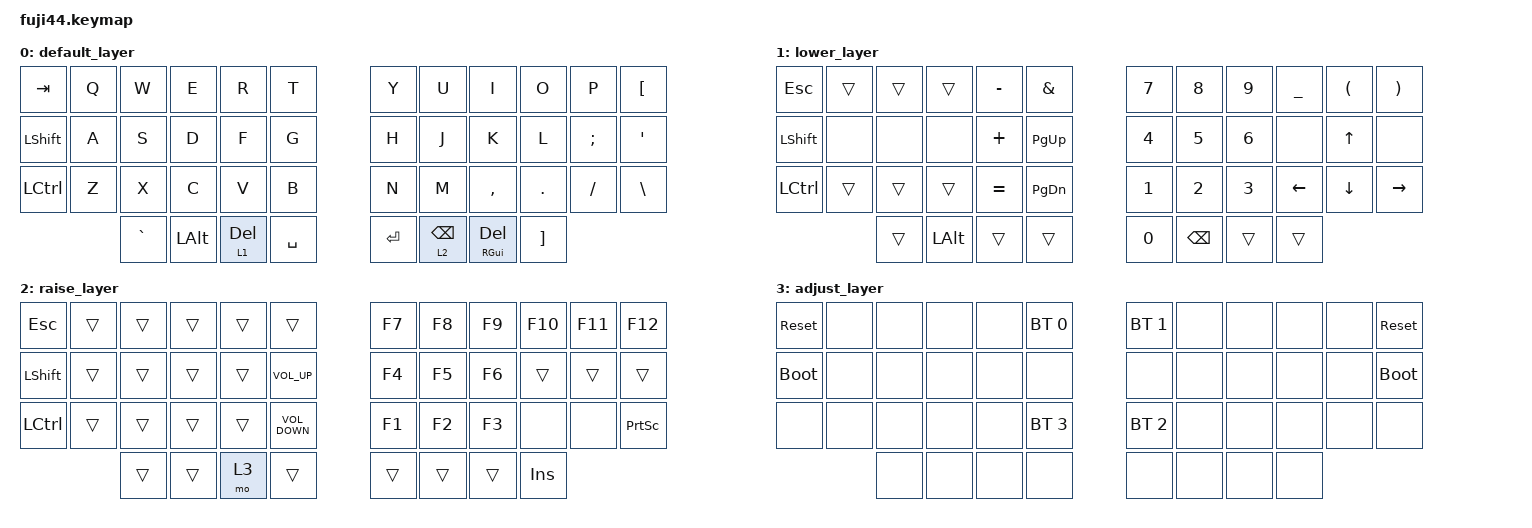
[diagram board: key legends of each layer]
/*
 * Copyright (c) 2020 The ZMK Contributors
 *
 * SPDX-License-Identifier: MIT
 */

#include <behaviors.dtsi>
#include <dt-bindings/zmk/bt.h>
#include <dt-bindings/zmk/keys.h>

&lt { quick-tap-ms = <200>; };

&mt {
    quick-tap-ms = <200>;
    tapping-term-ms = <300>;
};

/ {
    combos {
        compatible = "zmk,combos";

        bt_clear_combo {
            bindings = <&bt BT_CLR>;
            key-positions = <39 40>;
            layers = <3>;
        };
    };

    behaviors {
        T_to_tilda: T_to_tilda {
            compatible = "zmk,behavior-tap-dance";
            label = "T_TO_TILDA";
            #binding-cells = <0>;
            bindings = <&kp T>, <&kp GRAVE>;

            tapping-term-ms = <200>;
        };
    };

    keymap {
        compatible = "zmk,keymap";

        default_layer {
            bindings = <
&kp TAB           &kp Q  &kp W      &kp E         &kp R         &kp T        &kp Y      &kp U            &kp I              &kp O              &kp P     &kp LBKT
&kp LEFT_SHIFT    &kp A  &kp S      &kp D         &kp F         &kp G        &kp H      &kp J            &kp K              &kp L              &kp SEMI  &kp SQT
&kp LEFT_CONTROL  &kp Z  &kp X      &kp C         &kp V         &kp B        &kp N      &kp M            &kp COMMA          &kp DOT            &kp FSLH  &kp BACKSLASH
                         &kp GRAVE  &kp LEFT_ALT  &lt 1 DELETE  &kp SPACE    &kp ENTER  &lt 2 BACKSPACE  &mt RIGHT_GUI DEL  &kp RIGHT_BRACKET
            >;
        };

        lower_layer {
            bindings = <
&kp ESC           &trans  &trans  &trans        &kp MINUS  &kp AMPERSAND    &kp NUMBER_7  &kp NUMBER_8   &kp NUMBER_9  &kp UNDERSCORE  &kp LEFT_PARENTHESIS  &kp RIGHT_PARENTHESIS
&kp LEFT_SHIFT    &none   &none   &none         &kp PLUS   &kp PAGE_UP      &kp NUMBER_4  &kp NUMBER_5   &kp NUMBER_6  &none           &kp UP_ARROW          &none
&kp LEFT_CONTROL  &trans  &trans  &trans        &kp EQUAL  &kp PAGE_DOWN    &kp NUMBER_1  &kp NUMBER_2   &kp NUMBER_3  &kp LEFT_ARROW  &kp DOWN_ARROW        &kp RIGHT_ARROW
                          &trans  &kp LEFT_ALT  &trans     &trans           &kp N0        &kp BACKSPACE  &trans        &trans
            >;
        };

        raise_layer {
            bindings = <
&kp ESC           &trans  &trans  &trans  &trans  &trans               &kp F7  &kp F8  &kp F9  &kp F10     &kp F11  &kp F12
&kp LEFT_SHIFT    &trans  &trans  &trans  &trans  &kp C_VOLUME_UP      &kp F4  &kp F5  &kp F6  &trans      &trans   &trans
&kp LEFT_CONTROL  &trans  &trans  &trans  &trans  &kp C_VOLUME_DOWN    &kp F1  &kp F2  &kp F3  &none       &none    &kp PRINTSCREEN
                          &trans  &trans  &mo 3   &trans               &trans  &trans  &trans  &kp INSERT
            >;
        };

        adjust_layer {
            bindings = <
&sys_reset   &none  &none  &none  &none  &bt BT_SEL 0    &bt BT_SEL 1  &none  &none  &none  &none  &sys_reset
&bootloader  &none  &none  &none  &none  &none           &none         &none  &none  &none  &none  &bootloader
&none        &none  &none  &none  &none  &bt BT_SEL 3    &bt BT_SEL 2  &none  &none  &none  &none  &none
                    &none  &none  &none  &none           &none         &none  &none  &none
            >;
        };
    };
};
